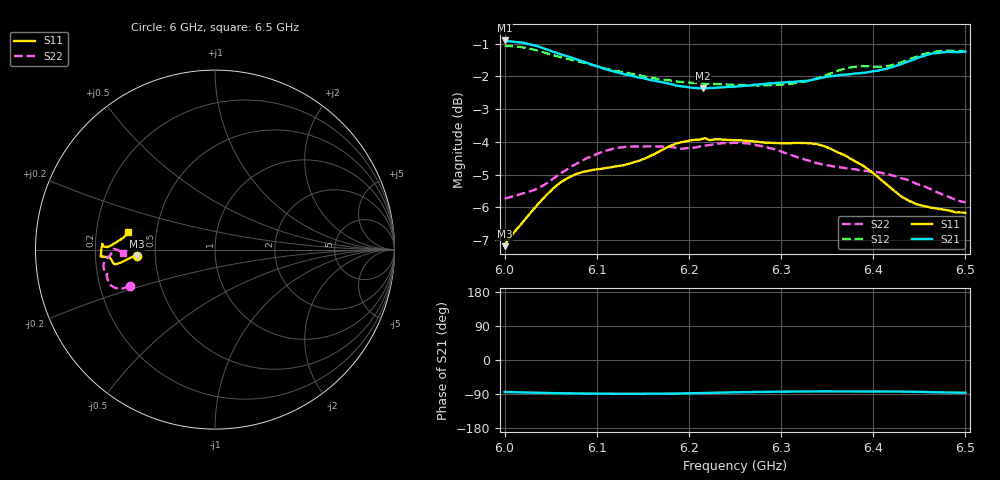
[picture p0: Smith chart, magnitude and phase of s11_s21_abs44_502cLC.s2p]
! MS46122B
! 1919307/90821646
! 5/20/2022 12:52:59 PM
! C:\USERS\PC_\DESKTOP\CARACTERIZACION\MEDICIONES\BANCHA ESTRECHA\6_65_GHZ\S11_S21_ABS44_502CL.S2P
! CHANNEL.1
! TR.MEASUREMENT
! CORRECTED.DATA
# GHZ S RI R 50.0
! FREQ.GHZ  S11RE  S11IM  S21RE  S21IM  S12RE  S12IM  S22RE  S22IM
!; PortSelection: Port_12
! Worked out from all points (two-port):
!   201 points, 6 GHz to 6.5 GHz, reference 50 ohm
!   highest |S21| = -0.90 dB at 6 GHz (marker M1); lowest = -2.4 dB at 6.215 GHz (marker M2)
!   |S21| within 3 dB of the highest: start of sweep to end of sweep
!   lowest |S11| = -7.2 dB at 6 GHz (marker M3), VSWR 2.55, Z = 19.6 - j1.8 ohm
!   |S11| at or under -10 dB: nowhere
!   |S22| runs from -5.8 to -4.0 dB; largest |S21 - S12| = 0.029
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6  -0.4355 -0.0371  0.0887 -0.8968  0.1014 -0.8792  -0.4759 -0.2016
6.005  -0.4479 -0.0355  0.084 -0.8947  0.096 -0.8783  -0.4774 -0.2031
6.0325  -0.4963 -0.0582  0.0578 -0.8839  0.0609 -0.87  -0.4902 -0.2093
6.0525  -0.5301 -0.0745  0.0412 -0.865  0.0439 -0.8549  -0.5105 -0.2155
6.085  -0.5618 -0.0799  0.0221 -0.8369  0.0244 -0.8335  -0.551 -0.2147
6.125  -0.5772 -0.0554  0.0114 -0.8034  0.0214 -0.8076  -0.5887 -0.1894
6.1675  -0.608 -0.04  0.0138 -0.7794  0.0367 -0.7857  -0.6017 -0.1519
6.1875  -0.6268 -0.039  0.02 -0.7679  0.0461 -0.7786  -0.6016 -0.1372
6.215  -0.6368 -0.0365  0.0387 -0.7606  0.0618 -0.7719  -0.6081 -0.1305
6.23  -0.6359 -0.0303  0.0494 -0.7617  0.0678 -0.7699  -0.6151 -0.1199
6.25  -0.6345 -0.0115  0.0638 -0.7634  0.0753 -0.7676  -0.6207 -0.1018
6.2825  -0.6288 0.022  0.0796 -0.7697  0.0857 -0.7649  -0.6163 -0.0675
6.295  -0.6276 0.0289  0.084 -0.7718  0.088 -0.7656  -0.6104 -0.057
6.31  -0.6269 0.0316  0.0901 -0.7738  0.0918 -0.7685  -0.6012 -0.0458
6.335  -0.6262 0.0221  0.0975 -0.7793  0.1005 -0.7797  -0.5868 -0.0339
6.37  -0.6004 0.0136  0.0995 -0.7926  0.0941 -0.8112  -0.5749 -0.0133
6.3975  -0.5677 0.0297  0.094 -0.8021  0.0786 -0.8184  -0.5684 0.00168
6.4175  -0.5365 0.0499  0.0955 -0.8127  0.0845 -0.8199  -0.5619 0.004
6.4325  -0.5143 0.064  0.0949 -0.8256  0.0912 -0.8315  -0.5542 0.00154
6.4475  -0.5006 0.0758  0.0882 -0.8424  0.0908 -0.8469  -0.544 -0.000964
6.475  -0.4888 0.0912  0.0678 -0.8616  0.0773 -0.8655  -0.5244 -0.00965
6.5  -0.482 0.0954  0.0547 -0.864  0.0639 -0.8646  -0.5098 -0.0204
